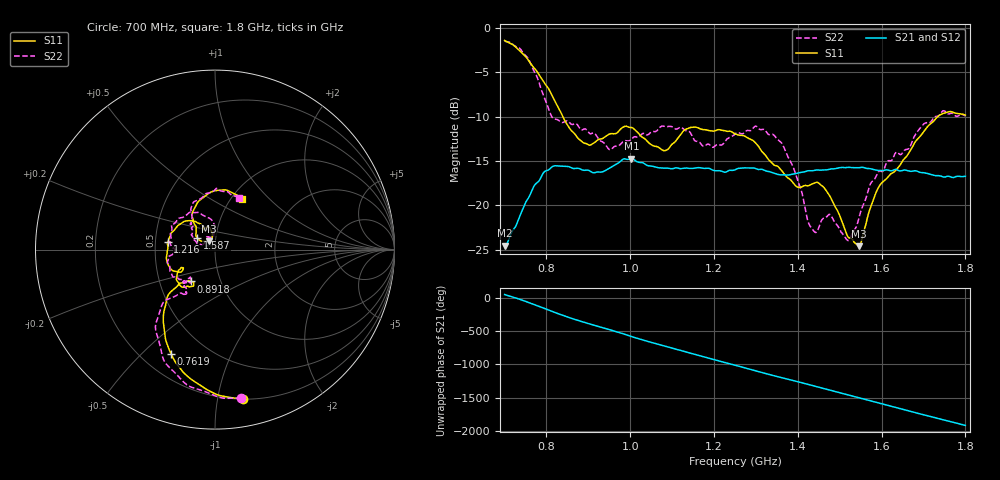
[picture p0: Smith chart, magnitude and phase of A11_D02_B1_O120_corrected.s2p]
! Created with skrf 1.9.0 (http://scikit-rf.org).
# Hz S RI R 50.0
!freq ReS11 ImS11 ReS21 ImS21 ReS12 ImS12 ReS22 ImS22
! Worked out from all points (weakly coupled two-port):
!   1601 points, 700 MHz to 1.8 GHz, reference 50 ohm
!   highest |S21| = -14.73 dB at 1.002 GHz (marker M1); lowest = -24.5 dB at 701.4 MHz (marker M2)
!   lowest |S11| = -24.6 dB at 1.546 GHz (marker M3), VSWR 1.13, Z = 46.4 + j4.41 ohm
!   |S11| at or under -10 dB: 838.9 MHz to 1.734 GHz (895.4 MHz wide, 69.6 % of centre)
!   |S22| runs from -24.0 to -1.5 dB; largest |S21 - S12| = 0.0034
!   S11 on the Smith chart (normalised r, x): 700 MHz: 0.20, -1.19; 761.9 MHz: 0.32, -0.62; 891.8 MHz: 0.72, -0.27; 1.216 GHz: 0.58, +0.05; 1.587 GHz: 0.81, +0.11; 1.8 GHz: 1.12, +0.71
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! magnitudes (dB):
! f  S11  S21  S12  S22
! 700 MHz  -1.4  -24.5  -24.3  -1.5
! 701.4 MHz  -1.5  -24.5  -24.2  -1.5
! 761.9 MHz  -4.0  -18.7  -18.6  -4.0
! 814.1 MHz  -7.7  -15.6  -15.7  -10.1
! 883.6 MHz  -12.8  -16.0  -15.9  -11.5
! 891.8 MHz  -13.0  -16.1  -16.1  -11.4
! 950.9 MHz  -12.0  -15.8  -15.8  -13.7
! 1.002 GHz  -11.2  -14.7  -14.8  -12.6
! 1.067 GHz  -13.5  -15.8  -15.7  -11.4
! 1.143 GHz  -11.2  -15.8  -15.8  -11.8
! 1.216 GHz  -11.5  -16.1  -16.1  -13.2
! 1.25 GHz  -11.9  -16.0  -15.9  -12.0
! 1.3 GHz  -13.0  -15.9  -15.9  -11.1
! 1.36 GHz  -16.0  -16.6  -16.6  -12.9
! 1.434 GHz  -17.6  -16.1  -16.1  -22.6
! 1.476 GHz  -18.9  -15.9  -15.9  -21.0
! 1.52 GHz  -23.6  -15.7  -15.7  -24.0
! 1.546 GHz  -24.6  -15.8  -15.7  -21.5
! 1.587 GHz  -18.5  -16.0  -16.0  -16.7
! 1.617 GHz  -16.7  -16.1  -16.0  -15.0
! 1.736 GHz  -9.9  -16.7  -16.7  -9.9
! 1.8 GHz  -9.8  -16.7  -16.7  -9.9
